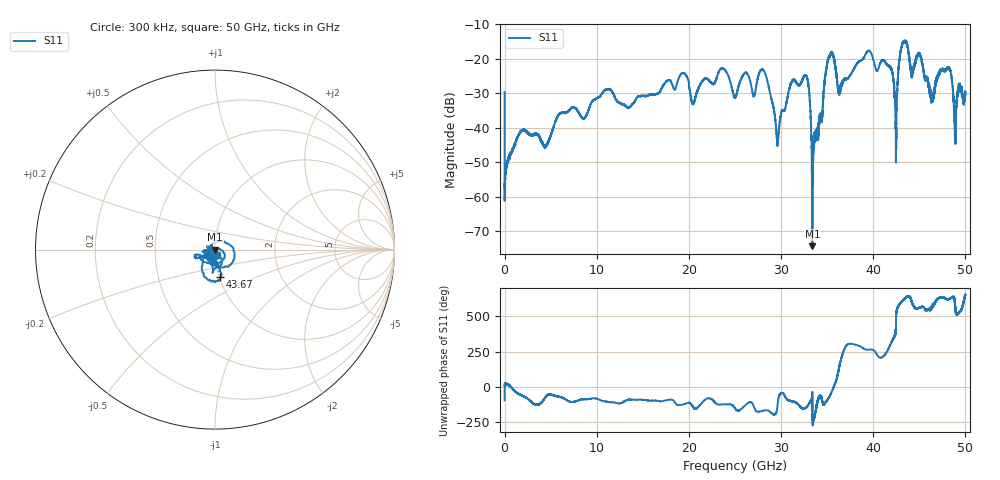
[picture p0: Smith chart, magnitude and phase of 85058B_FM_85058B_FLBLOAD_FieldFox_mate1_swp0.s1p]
!Created with skrf (http://scikit-rf.org).
# Hz S RI R 50.0
!freq ReS11 ImS11
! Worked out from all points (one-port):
!   10001 points, 300 kHz to 50 GHz, reference 50 ohm
!   lowest |S11| = -74.3 dB at 33.39 GHz (marker M1), VSWR 1.00, Z = 50 - j0.011 ohm
!   |S11| at or under -10 dB: start of sweep to end of sweep
!   S11 on the Smith chart (normalised r, x): 300 kHz: 0.99, -0.06; 43.67 GHz: 1.01, -0.32; 50 GHz: 1.03, -0.06
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300000  -0.00286 -0.0326
2.552985e8  0.00288 0.00102
1.810289e9  0.00456 -0.00773
4.430273e9  0.0017 -0.00512
6.250262e9  0.00411 -0.0162
1.250022e10  -0.0105 -0.0203
1.875019e10  -0.0273 -0.0369
2.047518e10  -0.0188 -0.0128
2.367516e10  -0.0398 -0.0602
2.500015e10  -0.0243 -0.0129
2.805013e10  -0.0671 -0.0135
2.963512e10  -0.00245 -0.00542
3.125011e10  -0.0108 -0.0472
3.27851e10  -0.0437 -0.0344
3.33901e10  0.000159 -0.00011
3.530009e10  0.0501 -0.1015
3.632008e10  -0.0257 0.0171
3.750008e10  0.0341 -0.0462
3.958006e10  -0.0128 -0.1293
4.186005e10  0.0387 -0.0638
4.243005e10  0.00879 0.0068
4.304504e10  -0.067 -0.1263
4.367004e10  0.0285 -0.1547
4.375004e10  0.0399 -0.1368
4.632502e10  -0.0235 -0.00979
4.808001e10  -0.0125 -0.0708
4.888001e10  -0.00434 -0.00443
5e10  0.0135 -0.03
